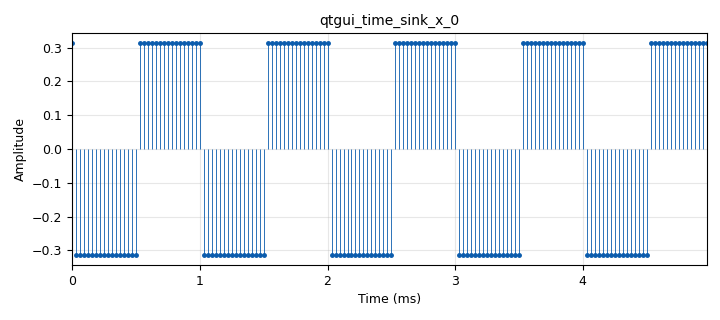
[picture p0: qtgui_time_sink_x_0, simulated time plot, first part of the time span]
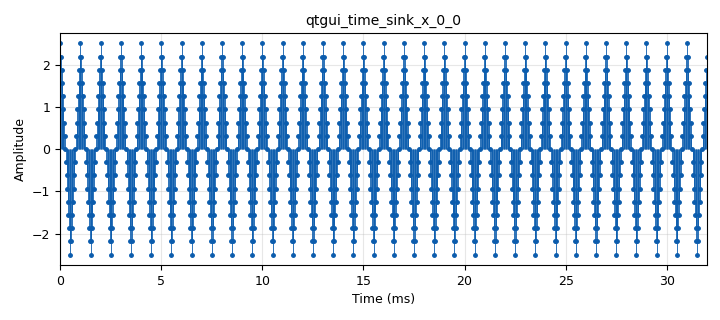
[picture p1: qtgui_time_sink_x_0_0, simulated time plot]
options:
  parameters:
    generate_options: qt_gui
    id: Diff
    output_language: python
    title: Not titled yet
  states: {}

blocks:
- name: samp_rate
  id: variable
  parameters:
    value: '32000'
  states: {}
- name: analog_sig_source_x_0
  id: analog_sig_source_x
  parameters:
    amp: '5'
    freq: '1000'
    offset: '-2.5'
    phase: '0'
    samp_rate: samp_rate
    type: float
    waveform: analog.GR_TRI_WAVE
  states: {}
- name: blocks_vector_source_x_0
  id: blocks_vector_source_x
  parameters:
    repeat: 'True'
    type: float
    vector: (1, 2, 3,4,5,6)
  states: {state: disabled}
- name: epy_block_0
  id: epy_block
  parameters:
    _source_code: |
      import numpy as np
      from gnuradio import gr
      class blk(gr.sync_block):
          def __init__ ( self ) : # only default arguments here
              gr. sync_block . __init__ (
                  self ,
                  name ="Diferenciador", # will show up in GRC
                  in_sig =[np.float32],
                  out_sig =[np.float32])
              self.last_sample=0
              
          def work (self , input_items , output_items ):
              x = input_items[0] # Senial de entrada .
              y = output_items[0] # Senial acumulada diferencial
              N = len(x)
              y[0] = x[0] - self.last_sample
              y[1:] = np.diff(x)
              self.last_sample = x[-1]
              
              return len(x)
  states: {}
- name: qtgui_time_sink_x_0
  id: qtgui_time_sink_x
  parameters:
    autoscale: 'True'
    grid: 'True'
    size: '1024'
    srate: samp_rate
    stemplot: 'True'
    type: float
    ymax: '50'
    ymin: '-50'
  states: {}
- name: qtgui_time_sink_x_0_0
  id: qtgui_time_sink_x
  parameters:
    autoscale: 'True'
    grid: 'True'
    size: '1024'
    srate: samp_rate
    stemplot: 'True'
    type: float
    ymax: '50'
    ymin: '-50'
  states: {}

connections:
- [analog_sig_source_x_0, '0', epy_block_0, '0']
- [analog_sig_source_x_0, '0', qtgui_time_sink_x_0_0, '0']
- [epy_block_0, '0', qtgui_time_sink_x_0, '0']

metadata:
  file_format: 1
  grc_version: 3.10.9.2
